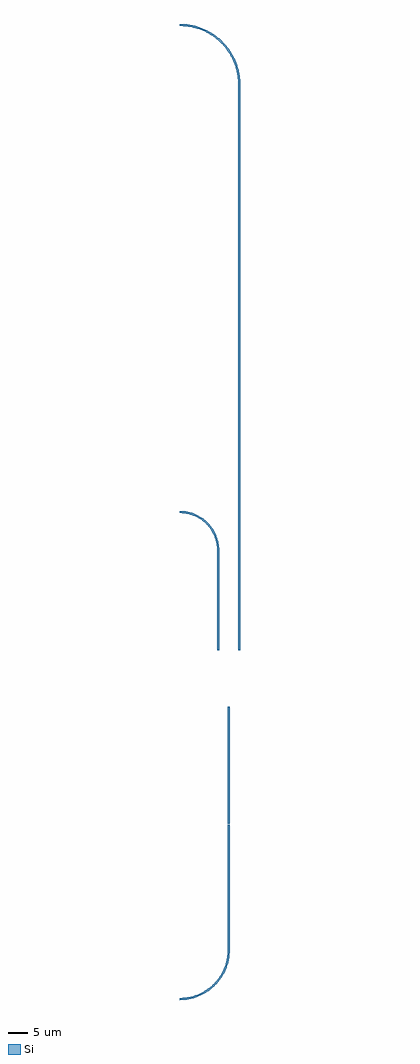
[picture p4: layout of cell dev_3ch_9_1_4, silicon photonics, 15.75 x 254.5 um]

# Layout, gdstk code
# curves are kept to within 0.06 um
import gdstk
lib = gdstk.Library(unit=1e-6, precision=1e-09)
def R(c, l, rs):  # rectangles x0, y0, x1, y1
    for r in rs: c.add(gdstk.rectangle(r[:2], r[2:], *l))
def A(c, l, x, y, w, h, nx, ny, dx, dy):  # array of equal rectangles
    R(c, l, [(x+i*dx, y+j*dy, x+i*dx+w, y+j*dy+h) for i in range(nx) for j in range(ny)])
def P(c, l, *ps):  # polygons
    for p in ps: c.add(gdstk.Polygon(p, *l))
Si = (1, 0)

dev_3ch_9_1_4_bot = lib.new_cell('dev_3ch_9_1_4_bot')
A(dev_3ch_9_1_4_bot, Si, -0.25, 26, 0.5, 0.322, 1, 25, 0, 0.46)
R(dev_3ch_9_1_4_bot, Si, [(-0.25,0,0.25,26), (-0.25,37.5,0.25,63.45)])
P(dev_3ch_9_1_4_bot, Si, [(-12.75,-13),(-12.75,-12.5),(-11.372,-12.424),(-10.161,-12.229),(-8.975,-11.917),(-7.544,-11.365),(-5.678,-10.308),(-4.02,-8.947),(-2.619,-7.323),(-1.516,-5.483),(-1.033,-4.355),(-0.588,-2.888),(-0.326,-1.378),(-0.25,0),(0.25,0),(0.202,-1.115),(0.031,-2.38),(-0.264,-3.621),(-0.679,-4.827),(-1.21,-5.987),(-1.853,-7.089),(-2.6,-8.123),(-3.445,-9.079),(-4.38,-9.947),(-5.395,-10.72),(-6.481,-11.389),(-7.628,-11.949),(-8.824,-12.393),(-10.057,-12.718),(-11.317,-12.921)])

dev_3ch_9_1_4_mid = lib.new_cell('dev_3ch_9_1_4_mid')
R(dev_3ch_9_1_4_mid, Si, [(-0.25,-26,0.25,0)])
P(dev_3ch_9_1_4_mid, Si, [(-0.25,0),(-0.406,1.737),(-0.917,3.544),(-1.765,5.22),(-2.918,6.702),(-4.334,7.935),(-5.718,8.76),(-6.707,9.178),(-7.737,9.484),(-8.794,9.675),(-10,9.75),(-10,10.25),(-9.013,10.203),(-7.896,10.032),(-6.012,9.443),(-4.276,8.503),(-3.375,7.822),(-2.555,7.046),(-1.825,6.184),(-1.194,5.247),(-0.671,4.246),(-0.26,3.194),(0.133,1.548),(0.25,0)])

dev_3ch_9_1_4_top = lib.new_cell('dev_3ch_9_1_4_top')
R(dev_3ch_9_1_4_top, Si, [(-0.25,-147.5,0.25,0)])
P(dev_3ch_9_1_4_top, Si, [(-0.25,0),(-0.327,1.537),(-0.526,2.891),(-0.944,4.55),(-1.411,5.836),(-1.99,7.076),(-2.679,8.258),(-3.684,9.642),(-4.596,10.662),(-5.596,11.596),(-6.675,12.438),(-7.825,13.179),(-9.038,13.813),(-10.625,14.45),(-12.274,14.905),(-13.963,15.173),(-15.5,15.25),(-15.5,15.75),(-13.912,15.67),(-12.514,15.465),(-11.14,15.135),(-9.473,14.551),(-8.192,13.953),(-6.676,13.047),(-5.271,11.977),(-4.239,11.012),(-3.076,9.681),(-2.071,8.23),(-1.387,6.993),(-0.693,5.368),(-0.106,3.332),(0.202,1.236),(0.25,0)])

dev_3ch_9_1_4 = lib.new_cell('dev_3ch_9_1_4')
dev_3ch_9_1_4.add(gdstk.Reference(dev_3ch_9_1_4_bot, (2.75,12.75)))
dev_3ch_9_1_4.add(gdstk.Reference(dev_3ch_9_1_4_mid, (0,117)))
dev_3ch_9_1_4.add(gdstk.Reference(dev_3ch_9_1_4_top, (5.5,238.5)))

lib.write_gds('dev_3ch_9_1_4.gds')
